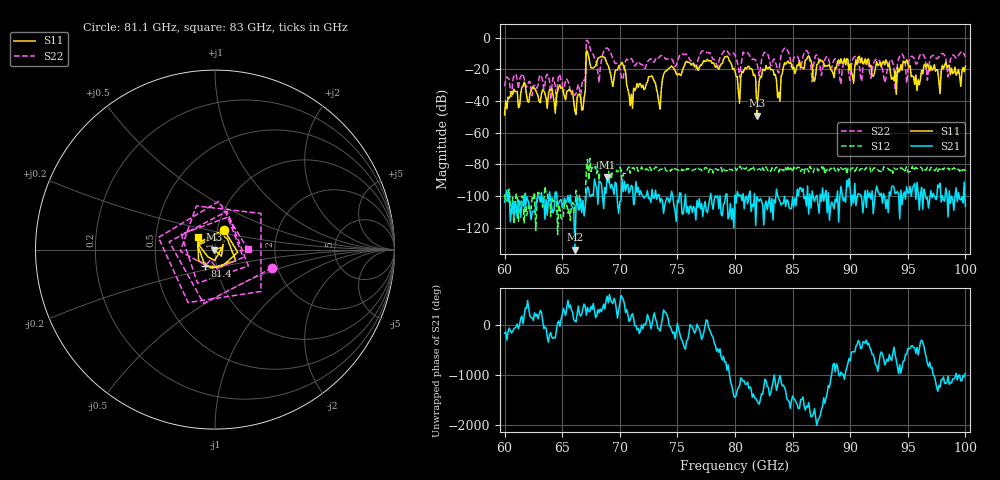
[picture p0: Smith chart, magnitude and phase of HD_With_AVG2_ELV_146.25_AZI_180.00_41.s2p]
! 11/25/2026 10:30:41 AM
! C:\ANRITSUVNA\TEMP\TEMP.S2P
! CHANNEL.1
! TR.MEASUREMENT
! RAW.DATA
# HZ S RI R 50.0
! FREQ.HZ  S11RE  S11IM  S21RE  S21IM  S12RE  S12IM  S22RE  S22IM
!; PortSelection: Port_12
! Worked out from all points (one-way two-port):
!   401 points, 60 GHz to 100 GHz, reference 50 ohm
!   highest |S21| = -87.92 dB at 68.9 GHz (marker M1); lowest = -134.0 dB at 66.1 GHz (marker M2)
!   lowest |S11| = -49.2 dB at 81.9 GHz (marker M3), VSWR 1.01, Z = 49.7 - j0.011 ohm
!   |S11| at or under -10 dB: start of sweep to 67.09 GHz; 67.23 GHz to end of sweep
!   |S22| runs from -42.9 to -1.7 dB; largest |S21 - S12| = 0.00016
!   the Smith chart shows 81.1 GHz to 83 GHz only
!   S11 on the Smith chart (normalised r, x): 81.1 GHz: 1.08, +0.24; 81.4 GHz: 0.88, -0.17; 83 GHz: 0.82, +0.12
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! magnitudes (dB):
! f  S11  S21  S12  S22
! 60 GHz  -48.7  -103.8  -98.9  -30.5
! 61.6 GHz  -30.6  -104.4  -100.2  -22.8
! 66.1 GHz  -46.6  -134.0  -110.6  -36.4
! 66.7 GHz  -45.7  -110.5  -104.9  -29.5
! 67.3 GHz  -12.1  -95.8  -90.0  -3.2
! 68.1 GHz  -13.0  -105.3  -78.9  -22.5
! 68.9 GHz  -16.4  -87.9  -79.2  -6.5
! 70.2 GHz  -15.5  -90.0  -92.3  -26.4
! 70.9 GHz  -42.8  -96.2  -85.6  -13.5
! 72.7 GHz  -24.4  -104.1  -83.7  -13.3
! 73.4 GHz  -41.3  -99.1  -84.1  -12.6
! 74.4 GHz  -18.6  -101.6  -84.3  -13.4
! 80 GHz  -21.2  -99.4  -82.3  -11.0
! 81.1 GHz  -18.4  -104.9  -84.0  -9.5
! 81.4 GHz  -19.3  -109.8  -82.6  -13.0
! 81.9 GHz  -49.2  -100.4  -83.3  -15.7
! 83 GHz  -18.4  -100.6  -83.9  -14.8
! 83.8 GHz  -34.3  -101.7  -84.9  -22.3
! 84.5 GHz  -15.5  -102.4  -84.4  -7.0
! 86.7 GHz  -17.5  -96.8  -83.8  -27.9
! 93.4 GHz  -16.4  -97.4  -83.7  -15.6
! 100 GHz  -17.9  -106.7  -84.2  -12.1
